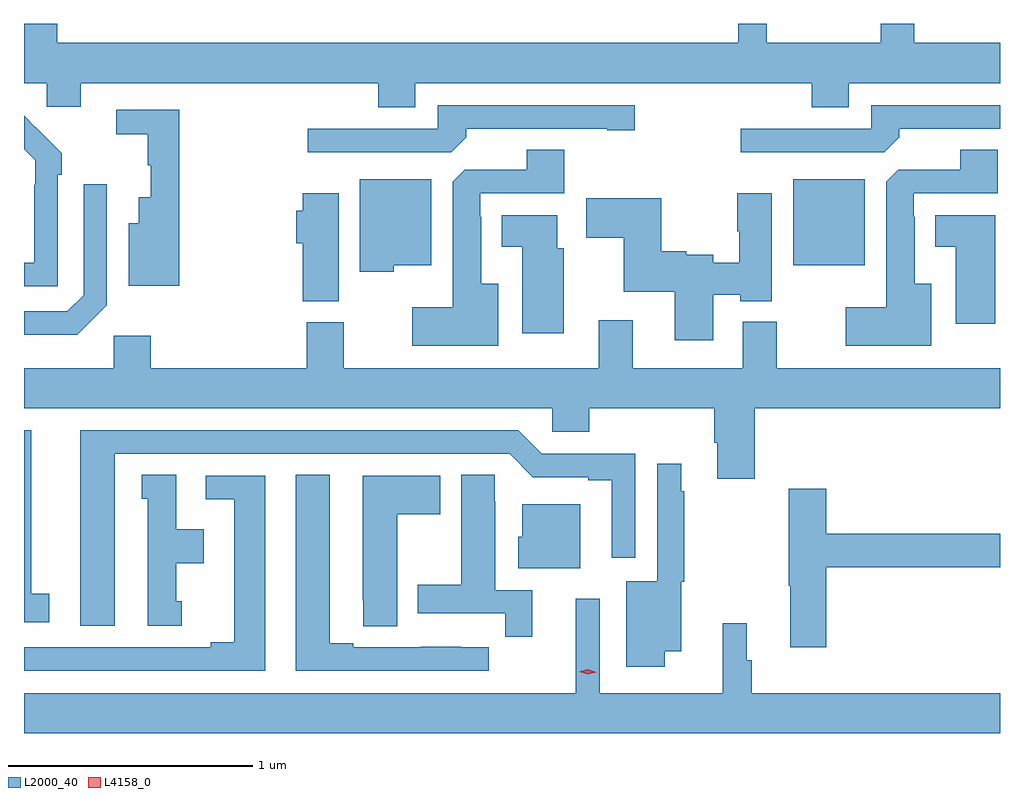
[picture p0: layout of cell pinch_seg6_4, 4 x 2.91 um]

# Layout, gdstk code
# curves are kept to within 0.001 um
import gdstk
lib = gdstk.Library(unit=1e-6, precision=1e-09)
def R(c, l, rs):  # rectangles x0, y0, x1, y1
    for r in rs: c.add(gdstk.rectangle(r[:2], r[2:], *l))
def P(c, l, *ps):  # polygons
    for p in ps: c.add(gdstk.Polygon(p, *l))
L2000_40 = (2000, 40)
L4158_0 = (4158, 0)

pinch_seg6_4 = lib.new_cell('pinch_seg6_4')
R(pinch_seg6_4, L2000_40, [(1109.528,994.541,1109.821,994.894)])
P(pinch_seg6_4, L2000_40, [(1107.979,995.288),(1109.603,995.288),(1109.603,995.189),(1109.755,995.189),(1109.755,995.288),(1110.375,995.288),(1110.375,995.452),(1110.023,995.452),(1110.023,995.53),(1109.887,995.53),(1109.887,995.452),(1109.42,995.452),(1109.42,995.53),(1109.303,995.53),(1109.303,995.452),(1106.511,995.452),(1106.511,995.53),(1106.375,995.53),(1106.375,995.288),(1106.469,995.288),(1106.469,995.19),(1106.608,995.19),(1106.608,995.288),(1107.827,995.288),(1107.827,995.189),(1107.979,995.189)],
  [(1108.187,995.066),(1108.187,995.1),(1108.766,995.1),(1108.766,995.095),(1108.879,995.095),(1108.879,995.196),(1108.071,995.196),(1108.071,995.1),(1107.537,995.1),(1107.537,995.004),(1108.125,995.004)],
  [(1109.963,995.066),(1109.963,995.1),(1110.375,995.1),(1110.375,995.196),(1109.847,995.196),(1109.847,995.1),(1109.313,995.1),(1109.313,995.004),(1109.901,995.004)],
  [(1107.012,994.815),(1107.011,994.815),(1107.011,995.178),(1106.754,995.178),(1106.754,995.077),(1106.883,995.077),(1106.883,994.95),(1106.894,994.95),(1106.894,994.819),(1106.846,994.819),(1106.846,994.714),(1106.804,994.714),(1106.804,994.457),(1107.012,994.457)],
  [(1106.514,994.913),(1106.529,994.913),(1106.529,995.001),(1106.375,995.153),(1106.375,995.017),(1106.421,994.971),(1106.421,994.871),(1106.418,994.871),(1106.418,994.551),(1106.375,994.551),(1106.375,994.455),(1106.514,994.455)],
  [(1110.094,994.465),(1110.025,994.465),(1110.025,994.739),(1110.021,994.739),(1110.021,994.836),(1110.365,994.836),(1110.365,995.015),(1110.212,995.015),(1110.212,994.932),(1109.958,994.932),(1109.909,994.883),(1109.909,994.369),(1109.742,994.369),(1109.742,994.211),(1110.094,994.211)],
  [(1108.318,994.465),(1108.249,994.465),(1108.249,994.739),(1108.245,994.739),(1108.245,994.836),(1108.589,994.836),(1108.589,995.015),(1108.436,995.015),(1108.436,994.932),(1108.182,994.932),(1108.133,994.883),(1108.133,994.369),(1107.966,994.369),(1107.966,994.211),(1108.318,994.211)],
  [(1107.891,994.541),(1108.045,994.541),(1108.045,994.894),(1107.752,994.894),(1107.752,994.514),(1107.891,994.514)],
  [(1106.715,994.377),(1106.715,994.873),(1106.619,994.873),(1106.619,994.419),(1106.553,994.353),(1106.375,994.353),(1106.375,994.256),(1106.594,994.256)],
  [(1107.664,994.837),(1107.518,994.837),(1107.518,994.765),(1107.491,994.765),(1107.491,994.631),(1107.518,994.631),(1107.518,994.393),(1107.664,994.393)],
  [(1109.2,994.421),(1109.31,994.421),(1109.31,994.394),(1109.44,994.394),(1109.44,994.837),(1109.299,994.837),(1109.299,994.681),(1109.306,994.681),(1109.306,994.551),(1109.2,994.551),(1109.2,994.585),(1109.09,994.585),(1109.09,994.598),(1108.987,994.598),(1108.987,994.816),(1108.68,994.816),(1108.68,994.654),(1108.832,994.654),(1108.832,994.433),(1109.042,994.433),(1109.042,994.233),(1109.2,994.233)],
  [(1108.588,994.611),(1108.561,994.611),(1108.561,994.747),(1108.334,994.747),(1108.334,994.616),(1108.418,994.616),(1108.418,994.263),(1108.588,994.263)],
  [(1110.355,994.747),(1110.11,994.747),(1110.11,994.616),(1110.194,994.616),(1110.194,994.302),(1110.355,994.302)],
  [(1109.369,993.956),(1110.375,993.956),(1110.375,994.12),(1109.461,994.12),(1109.461,994.309),(1109.321,994.309),(1109.321,994.12),(1108.87,994.12),(1108.87,994.315),(1108.73,994.315),(1108.73,994.12),(1107.685,994.12),(1107.685,994.308),(1107.533,994.308),(1107.533,994.12),(1106.894,994.12),(1106.894,994.252),(1106.742,994.252),(1106.742,994.12),(1106.375,994.12),(1106.375,993.956),(1108.539,993.956),(1108.539,993.858),(1108.691,993.858),(1108.691,993.956),(1109.204,993.956),(1109.204,993.814),(1109.216,993.814),(1109.216,993.666),(1109.369,993.666)],
  [(1106.479,993.194),(1106.404,993.194),(1106.404,993.864),(1106.375,993.864),(1106.375,993.078),(1106.479,993.078)],
  [(1106.746,993.768),(1108.365,993.768),(1108.461,993.672),(1108.688,993.672),(1108.688,993.66),(1108.784,993.66),(1108.784,993.342),(1108.881,993.342),(1108.881,993.768),(1108.497,993.768),(1108.401,993.864),(1106.606,993.864),(1106.606,993.063),(1106.746,993.063)],
  [(1109.002,992.96),(1109.068,992.96),(1109.068,993.243),(1109.08,993.243),(1109.08,993.614),(1109.068,993.614),(1109.068,993.727),(1108.971,993.727),(1108.971,993.247),(1108.844,993.247),(1108.844,992.895),(1109.002,992.895)],
  [(1107.022,993.165),(1106.998,993.165),(1106.998,993.32),(1107.112,993.32),(1107.112,993.46),(1106.998,993.46),(1106.998,993.683),(1106.858,993.683),(1106.858,993.585),(1106.882,993.585),(1106.882,993.063),(1107.022,993.063)],
  [(1108.457,993.21),(1108.306,993.21),(1108.306,993.572),(1108.305,993.572),(1108.305,993.683),(1108.166,993.683),(1108.166,993.231),(1107.989,993.231),(1107.989,993.114),(1108.348,993.114),(1108.348,993.018),(1108.457,993.018)],
  [(1108.279,992.976),(1108.166,992.976),(1108.166,992.977),(1108,992.977),(1108,992.976),(1107.724,992.976),(1107.724,992.991),(1107.628,992.991),(1107.628,993.683),(1107.488,993.683),(1107.488,992.88),(1108.279,992.88)],
  [(1107.904,993.52),(1108.081,993.52),(1108.081,993.679),(1107.764,993.679),(1107.764,993.169),(1107.765,993.169),(1107.765,993.061),(1107.904,993.061)],
  [(1107.364,993.678),(1107.12,993.678),(1107.12,993.582),(1107.236,993.582),(1107.236,992.996),(1107.14,992.996),(1107.14,992.976),(1106.375,992.976),(1106.375,992.88),(1107.364,992.88)],
  [(1109.663,993.304),(1110.375,993.304),(1110.375,993.44),(1109.663,993.44),(1109.663,993.625),(1109.509,993.625),(1109.509,993.227),(1109.516,993.227),(1109.516,992.976),(1109.663,992.976)],
  [(1108.654,993.562),(1108.418,993.562),(1108.418,993.429),(1108.4,993.429),(1108.4,993.299),(1108.654,993.299)],
  [(1110.375,992.788),(1109.357,992.788),(1109.357,992.922),(1109.338,992.922),(1109.338,993.073),(1109.239,993.073),(1109.239,992.788),(1108.734,992.788),(1108.734,993.175),(1108.637,993.175),(1108.637,992.788),(1106.375,992.788),(1106.375,992.624),(1110.375,992.624)])
P(pinch_seg6_4, L4158_0, [(1108.686,992.865),(1108.651,992.875),(1108.651,992.876),(1108.651,992.876),(1108.686,992.885),(1108.721,992.874),(1108.721,992.874),(1108.721,992.873)])

lib.write_gds('pinch_seg6_4.gds')
